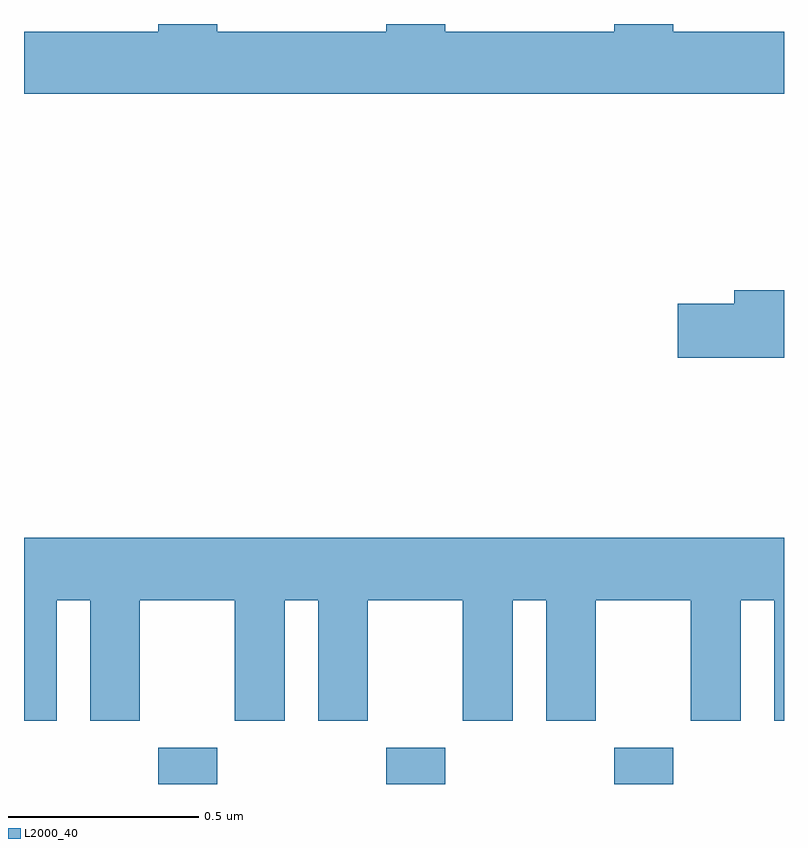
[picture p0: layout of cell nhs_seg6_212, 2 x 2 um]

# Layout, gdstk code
import gdstk
lib = gdstk.Library(unit=1e-6, precision=1e-09)
def R(c, l, rs):  # rectangles x0, y0, x1, y1
    for r in rs: c.add(gdstk.rectangle(r[:2], r[2:], *l))
def A(c, l, x, y, w, h, nx, ny, dx, dy):  # array of equal rectangles
    R(c, l, [(x+i*dx, y+j*dy, x+i*dx+w, y+j*dy+h) for i in range(nx) for j in range(ny)])
def P(c, l, *ps):  # polygons
    for p in ps: c.add(gdstk.Polygon(p, *l))
L2000_40 = (2000, 40)

nhs_seg6_212 = lib.new_cell('nhs_seg6_212')
A(nhs_seg6_212, L2000_40, 113.353, 965.5, 0.155, 0.096, 3, 1, 0.6, 0)
P(nhs_seg6_212, L2000_40, [(115,967.48),(114.708,967.48),(114.708,967.5),(114.553,967.5),(114.553,967.48),(114.108,967.48),(114.108,967.5),(113.953,967.5),(113.953,967.48),(113.508,967.48),(113.508,967.5),(113.353,967.5),(113.353,967.48),(113,967.48),(113,967.316),(115,967.316)],
  [(115,966.8),(114.869,966.8),(114.869,966.764),(114.72,966.764),(114.72,966.622),(115,966.622)],
  [(113.086,965.984),(113.174,965.984),(113.174,965.667),(113.305,965.667),(113.305,965.984),(113.555,965.984),(113.555,965.667),(113.686,965.667),(113.686,965.984),(113.774,965.984),(113.774,965.667),(113.905,965.667),(113.905,965.984),(114.155,965.984),(114.155,965.667),(114.286,965.667),(114.286,965.984),(114.374,965.984),(114.374,965.667),(114.505,965.667),(114.505,965.984),(114.755,965.984),(114.755,965.667),(114.886,965.667),(114.886,965.984),(114.974,965.984),(114.974,965.667),(115,965.667),(115,966.148),(113,966.148),(113,965.667),(113.086,965.667)])

lib.write_gds('nhs_seg6_212.gds')
